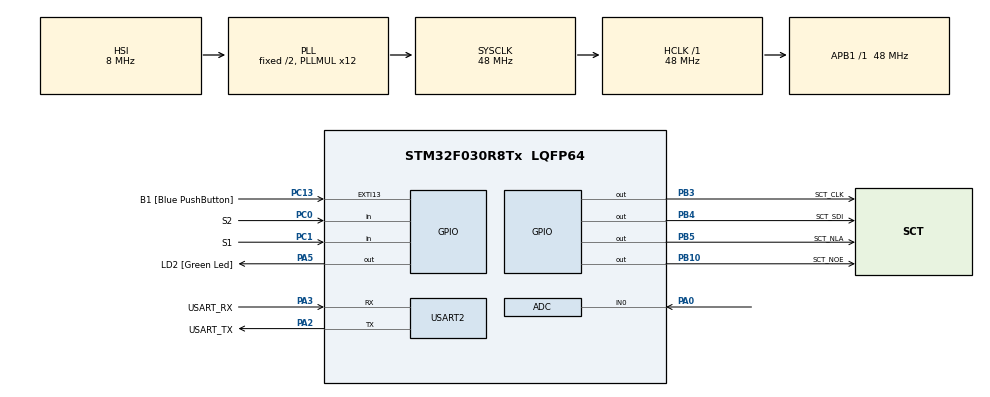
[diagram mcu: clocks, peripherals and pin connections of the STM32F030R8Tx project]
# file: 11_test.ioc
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ADC.ContinuousConvMode=ENABLE
ADC.Overrun=ADC_OVR_DATA_OVERWRITTEN
ADC.SamplingTime=ADC_SAMPLETIME_239CYCLES_5
Mcu.Family=STM32F0
Mcu.Name=STM32F030R8Tx
Mcu.Package=LQFP64
NVIC.ADC1_IRQn=true\:0\:0\:false\:false\:true\:true\:true
PA0.Mode=IN0
PA0.Signal=ADC_IN0
PA13.GPIO_Label=TMS
PA13.Mode=Serial_Wire
PA13.Signal=SYS_SWDIO
PA14.GPIO_Label=TCK
PA14.Mode=Serial_Wire
PA14.Signal=SYS_SWCLK
PA2.GPIO_Label=USART_TX
PA2.GPIO_Mode=GPIO_MODE_AF_PP
PA2.GPIO_PuPd=GPIO_NOPULL
PA2.GPIO_Speed=GPIO_SPEED_FREQ_LOW
PA2.Mode=Asynchronous
PA2.Signal=USART2_TX
PA3.GPIO_Label=USART_RX
PA3.GPIO_Mode=GPIO_MODE_AF_PP
PA3.GPIO_PuPd=GPIO_NOPULL
PA3.GPIO_Speed=GPIO_SPEED_FREQ_LOW
PA3.Mode=Asynchronous
PA3.Signal=USART2_RX
PA5.GPIO_Label=LD2 [Green Led]
PA5.GPIO_Mode=GPIO_MODE_OUTPUT_PP
PA5.GPIO_PuPd=GPIO_NOPULL
PA5.GPIO_Speed=GPIO_SPEED_FREQ_LOW
PA5.Signal=GPIO_Output
PB10.GPIO_Label=SCT_NOE
PB10.Signal=GPIO_Output
PB3.GPIO_Label=SCT_CLK
PB3.Signal=GPIO_Output
PB4.GPIO_Label=SCT_SDI
PB4.Signal=GPIO_Output
PB5.GPIO_Label=SCT_NLA
PB5.Signal=GPIO_Output
PC0.GPIO_Label=S2
PC0.GPIO_PuPd=GPIO_PULLUP
PC0.Signal=GPIO_Input
PC1.GPIO_Label=S1
PC1.GPIO_PuPd=GPIO_PULLUP
PC1.Signal=GPIO_Input
PC13.GPIO_Label=B1 [Blue PushButton]
PC13.GPIO_ModeDefaultEXTI=GPIO_MODE_IT_FALLING
PC13.Signal=GPXTI13
PC14-OSC32_IN.Mode=LSE-External-Oscillator
PC14-OSC32_IN.Signal=RCC_OSC32_IN
PC15-OSC32_OUT.Mode=LSE-External-Oscillator
PC15-OSC32_OUT.Signal=RCC_OSC32_OUT
PF0-OSC_IN.Mode=HSE-External-Clock-Source
PF0-OSC_IN.Signal=RCC_OSC_IN
PF1-OSC_OUT.Signal=RCC_OSC_OUT
ProjectManager.HeapSize=0x200
ProjectManager.StackSize=0x400
ProjectManager.TargetToolchain=STM32CubeIDE
RCC.AHBFreq_Value=48000000
RCC.APB1Freq_Value=48000000
RCC.APB1TimFreq_Value=48000000
RCC.HCLKFreq_Value=48000000
RCC.PLLMUL=RCC_PLL_MUL12
RCC.SYSCLKFreq_VALUE=48000000
RCC.SYSCLKSource=RCC_SYSCLKSOURCE_PLLCLK
USART2.VirtualMode-Asynchronous=VM_ASYNC
board=NUCLEO-F030R8

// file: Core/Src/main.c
/* USER CODE BEGIN Header */
/**
  ******************************************************************************
  * @file           : main.c
  * @brief          : Main program body
  ******************************************************************************
  * @attention
  *
  * Copyright (c) 2022 STMicroelectronics.
  * All rights reserved.
  *
  * This software is licensed under terms that can be found in the LICENSE file
  * in the root directory of this software component.
  * If no LICENSE file comes with this software, it is provided AS-IS.
  *
  ******************************************************************************
  */
/* USER CODE END Header */
#include "main.h"

ADC_HandleTypeDef hadc;

UART_HandleTypeDef huart2;

void SystemClock_Config(void);
static void MX_GPIO_Init(void);
static void MX_USART2_UART_Init(void);
static void MX_ADC_Init(void);
/* USER CODE BEGIN PFP */
static volatile uint32_t raw_pot;
static enum {clockwise, counterclockwise} state = clockwise;
/* USER CODE END PFP */

/* USER CODE BEGIN 0 */

void HAL_ADC_ConvCpltCallback(ADC_HandleTypeDef* hadc)
{
 raw_pot = HAL_ADC_GetValue(hadc);
}

// simple debouncing implementation
void tlacitko(void)
{
	static uint16_t debounce_t1 = 0xFFFF;
	static uint16_t debounce_t2 = 0xFFFF;
	static uint32_t timer;
	if (HAL_GetTick() > timer + 5){
		debounce_t1 <<= 1;
		debounce_t2 <<= 1;
		if (HAL_GPIO_ReadPin(S1_GPIO_Port, S1_Pin) == 0) debounce_t1 |= 0x0001;
		if (debounce_t1 == 0x7FFF){
			state = clockwise;
		}
		if (HAL_GPIO_ReadPin(S2_GPIO_Port, S2_Pin) == 0) debounce_t2 |= 0x0001;
		if (debounce_t2 == 0x7FFF){
			state = counterclockwise;
		}
		timer = HAL_GetTick();
	}

}
/* USER CODE END 0 */

int main(void)
{

  /* MCU Configuration--------------------------------------------------------*/

  /* Reset of all peripherals, Initializes the Flash interface and the Systick. */
  HAL_Init();

  /* Configure the system clock */
  SystemClock_Config();

  /* Initialize all configured peripherals */
  MX_GPIO_Init();
  MX_USART2_UART_Init();
  MX_ADC_Init();
  /* USER CODE BEGIN 2 */
  HAL_ADCEx_Calibration_Start(&hadc);
  HAL_ADC_Start_IT(&hadc);
  uint32_t delay = 0;
  uint16_t value = 0;
  /* USER CODE END 2 */

  /* Infinite loop */
  /* USER CODE BEGIN WHILE */
  while (1)
  {
	tlacitko();
	// spreads timing across one move cycle from 20-300ms with respect of ABCDEF points on 7seg
	// formula below is counted as follows: 20/10 + raw_pot/4096*300/10 --> after few math steps we can receive formula below
	delay = 2 + raw_pot*30/4096;
	// simple state machine deciding whether points are moving clockwise or counterclockwise
	switch (state){
	case clockwise:
		sct_value(value);
		value++;
		break;
	case counterclockwise:
		sct_value(value);
		value--;
		break;
	}
	HAL_Delay((uint32_t) delay);

	if (value > 9){
		if (state == clockwise){
			value = 0;
		// simple trick, if initial value is 0 and we decrement this value as long as it's uint16_t it suddenly became 2^16 which is bigger than 5 and it's set to max BCD value
		}else if(state == counterclockwise){
			value = 9;
		}
	}
    /* USER CODE END WHILE */

  }
}

void SystemClock_Config(void)
{
  RCC_OscInitTypeDef RCC_OscInitStruct = {0};
  RCC_ClkInitTypeDef RCC_ClkInitStruct = {0};

  /** Initializes the RCC Oscillators according to the specified parameters
  * in the RCC_OscInitTypeDef structure.
  */
  RCC_OscInitStruct.OscillatorType = RCC_OSCILLATORTYPE_HSI|RCC_OSCILLATORTYPE_HSI14;
  RCC_OscInitStruct.HSIState = RCC_HSI_ON;
  RCC_OscInitStruct.HSI14State = RCC_HSI14_ON;
  RCC_OscInitStruct.HSICalibrationValue = RCC_HSICALIBRATION_DEFAULT;
  RCC_OscInitStruct.HSI14CalibrationValue = 16;
  RCC_OscInitStruct.PLL.PLLState = RCC_PLL_ON;
  RCC_OscInitStruct.PLL.PLLSource = RCC_PLLSOURCE_HSI;
  RCC_OscInitStruct.PLL.PLLMUL = RCC_PLL_MUL12;
  RCC_OscInitStruct.PLL.PREDIV = RCC_PREDIV_DIV1;
  if (HAL_RCC_OscConfig(&RCC_OscInitStruct) != HAL_OK)
  {
    Error_Handler();
  }
  /** Initializes the CPU, AHB and APB buses clocks
  */
  RCC_ClkInitStruct.ClockType = RCC_CLOCKTYPE_HCLK|RCC_CLOCKTYPE_SYSCLK
                              |RCC_CLOCKTYPE_PCLK1;
  RCC_ClkInitStruct.SYSCLKSource = RCC_SYSCLKSOURCE_PLLCLK;
  RCC_ClkInitStruct.AHBCLKDivider = RCC_SYSCLK_DIV1;
  RCC_ClkInitStruct.APB1CLKDivider = RCC_HCLK_DIV1;

  if (HAL_RCC_ClockConfig(&RCC_ClkInitStruct, FLASH_LATENCY_1) != HAL_OK)
  {
    Error_Handler();
  }
}

static void MX_ADC_Init(void)
{

  ADC_ChannelConfTypeDef sConfig = {0};

  /** Configure the global features of the ADC (Clock, Resolution, Data Alignment and number of conversion)
  */
  hadc.Instance = ADC1;
  hadc.Init.ClockPrescaler = ADC_CLOCK_ASYNC_DIV1;
  hadc.Init.Resolution = ADC_RESOLUTION_12B;
  hadc.Init.DataAlign = ADC_DATAALIGN_RIGHT;
  hadc.Init.ScanConvMode = ADC_SCAN_DIRECTION_FORWARD;
  hadc.Init.EOCSelection = ADC_EOC_SINGLE_CONV;
  hadc.Init.LowPowerAutoWait = DISABLE;
  hadc.Init.LowPowerAutoPowerOff = DISABLE;
  hadc.Init.ContinuousConvMode = ENABLE;
  hadc.Init.DiscontinuousConvMode = DISABLE;
  hadc.Init.ExternalTrigConv = ADC_SOFTWARE_START;
  hadc.Init.ExternalTrigConvEdge = ADC_EXTERNALTRIGCONVEDGE_NONE;
  hadc.Init.DMAContinuousRequests = DISABLE;
  hadc.Init.Overrun = ADC_OVR_DATA_OVERWRITTEN;
  if (HAL_ADC_Init(&hadc) != HAL_OK)
  {
    Error_Handler();
  }
  /** Configure for the selected ADC regular channel to be converted.
  */
  sConfig.Channel = ADC_CHANNEL_0;
  sConfig.Rank = ADC_RANK_CHANNEL_NUMBER;
  sConfig.SamplingTime = ADC_SAMPLETIME_239CYCLES_5;
  if (HAL_ADC_ConfigChannel(&hadc, &sConfig) != HAL_OK)
  {
    Error_Handler();
  }

}

static void MX_USART2_UART_Init(void)
{

  huart2.Instance = USART2;
  huart2.Init.BaudRate = 38400;
  huart2.Init.WordLength = UART_WORDLENGTH_8B;
  huart2.Init.StopBits = UART_STOPBITS_1;
  huart2.Init.Parity = UART_PARITY_NONE;
  huart2.Init.Mode = UART_MODE_TX_RX;
  huart2.Init.HwFlowCtl = UART_HWCONTROL_NONE;
  huart2.Init.OverSampling = UART_OVERSAMPLING_16;
  huart2.Init.OneBitSampling = UART_ONE_BIT_SAMPLE_DISABLE;
  huart2.AdvancedInit.AdvFeatureInit = UART_ADVFEATURE_NO_INIT;
  if (HAL_UART_Init(&huart2) != HAL_OK)
  {
    Error_Handler();
  }

}

static void MX_GPIO_Init(void)
{
  GPIO_InitTypeDef GPIO_InitStruct = {0};

  /* GPIO Ports Clock Enable */
  __HAL_RCC_GPIOC_CLK_ENABLE();
  __HAL_RCC_GPIOF_CLK_ENABLE();
  __HAL_RCC_GPIOA_CLK_ENABLE();
  __HAL_RCC_GPIOB_CLK_ENABLE();

  /*Configure GPIO pin Output Level */
  HAL_GPIO_WritePin(GPIOA, GPIO_PIN_5, GPIO_PIN_RESET);

  /*Configure GPIO pin Output Level */
  HAL_GPIO_WritePin(GPIOB, GPIO_PIN_10|GPIO_PIN_3|GPIO_PIN_4|GPIO_PIN_5, GPIO_PIN_RESET);

  /*Configure GPIO pin : PC13 */
  GPIO_InitStruct.Pin = GPIO_PIN_13;
  GPIO_InitStruct.Mode = GPIO_MODE_IT_FALLING;
  GPIO_InitStruct.Pull = GPIO_NOPULL;
  HAL_GPIO_Init(GPIOC, &GPIO_InitStruct);

  /*Configure GPIO pins : PC0 PC1 */
  GPIO_InitStruct.Pin = GPIO_PIN_0|GPIO_PIN_1;
  GPIO_InitStruct.Mode = GPIO_MODE_INPUT;
  GPIO_InitStruct.Pull = GPIO_PULLUP;
  HAL_GPIO_Init(GPIOC, &GPIO_InitStruct);

  /*Configure GPIO pin : PA5 */
  GPIO_InitStruct.Pin = GPIO_PIN_5;
  GPIO_InitStruct.Mode = GPIO_MODE_OUTPUT_PP;
  GPIO_InitStruct.Pull = GPIO_NOPULL;
  GPIO_InitStruct.Speed = GPIO_SPEED_FREQ_LOW;
  HAL_GPIO_Init(GPIOA, &GPIO_InitStruct);

  /*Configure GPIO pins : PB10 PB3 PB4 PB5 */
  GPIO_InitStruct.Pin = GPIO_PIN_10|GPIO_PIN_3|GPIO_PIN_4|GPIO_PIN_5;
  GPIO_InitStruct.Mode = GPIO_MODE_OUTPUT_PP;
  GPIO_InitStruct.Pull = GPIO_NOPULL;
  GPIO_InitStruct.Speed = GPIO_SPEED_FREQ_LOW;
  HAL_GPIO_Init(GPIOB, &GPIO_InitStruct);

}

void Error_Handler(void)
{
  __disable_irq();
  while (1)
  {
  }
}
